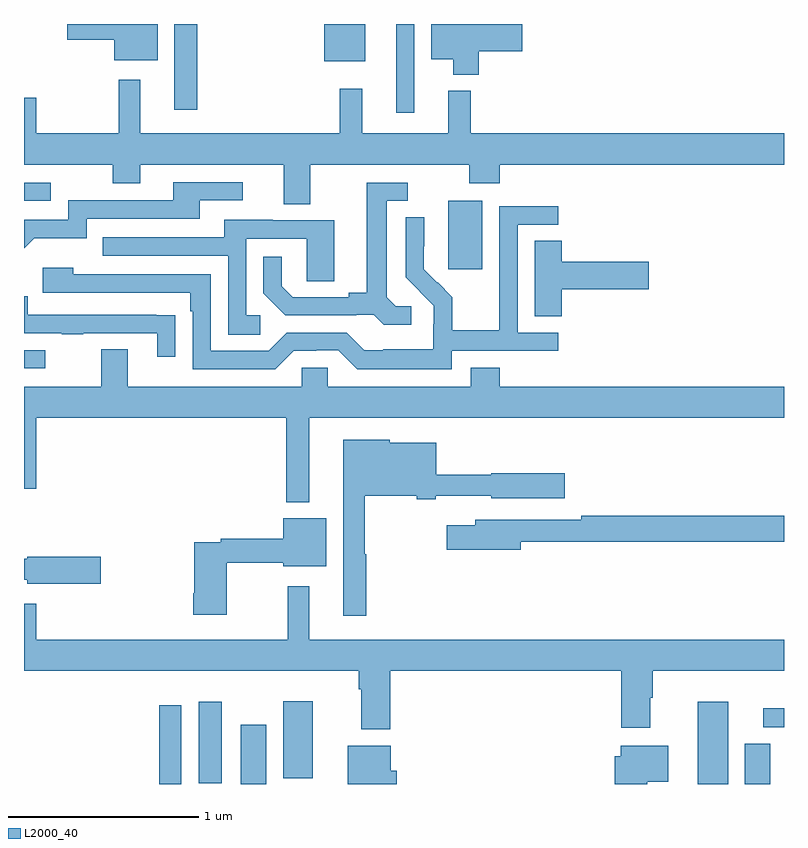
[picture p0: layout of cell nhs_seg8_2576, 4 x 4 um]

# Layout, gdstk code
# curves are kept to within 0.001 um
import gdstk
lib = gdstk.Library(unit=1e-6, precision=1e-09)
def R(c, l, rs):  # rectangles x0, y0, x1, y1
    for r in rs: c.add(gdstk.rectangle(r[:2], r[2:], *l))
def P(c, l, *ps):  # polygons
    for p in ps: c.add(gdstk.Polygon(p, *l))
L2000_40 = (2000, 40)

nhs_seg8_2576 = lib.new_cell('nhs_seg8_2576')
R(nhs_seg8_2576, L2000_40, [(273.712,1119.9,273.828,1120.315), (274.142,1119.9,274.276,1120.213), (276.545,1119.9,276.706,1120.333), (276.794,1119.9,276.928,1120.111), (273.92,1119.903,274.042,1120.333), (274.364,1119.93,274.519,1120.336), (276.891,1120.2,277,1120.298), (273,1122.087,273.112,1122.183), (275.234,1122.609,275.413,1122.97), (273,1122.969,273.142,1123.065), (274.958,1123.434,275.055,1123.9), (273.791,1123.449,273.913,1123.9), (274.58,1123.703,274.795,1123.9)])
P(nhs_seg8_2576, L2000_40, [(273.703,1123.9),(273.228,1123.9),(273.228,1123.816),(273.476,1123.816),(273.476,1123.709),(273.703,1123.709)],
  [(275.393,1123.756),(275.623,1123.756),(275.623,1123.898),(275.376,1123.898),(275.376,1123.9),(275.144,1123.9),(275.144,1123.715),(275.258,1123.715),(275.258,1123.634),(275.393,1123.634)],
  [(274.507,1123.16),(275.344,1123.16),(275.344,1123.061),(275.504,1123.061),(275.504,1123.16),(277,1123.16),(277,1123.324),(275.351,1123.324),(275.351,1123.549),(275.234,1123.549),(275.234,1123.324),(274.781,1123.324),(274.781,1123.558),(274.663,1123.558),(274.663,1123.324),(273.613,1123.324),(273.613,1123.606),(273.499,1123.606),(273.499,1123.324),(273.064,1123.324),(273.064,1123.513),(273,1123.513),(273,1123.16),(273.466,1123.16),(273.466,1123.061),(273.613,1123.061),(273.613,1123.16),(274.367,1123.16),(274.367,1122.952),(274.507,1122.952)],
  [(273.053,1122.773),(273.33,1122.773),(273.33,1122.876),(273.925,1122.876),(273.925,1122.972),(274.15,1122.972),(274.15,1123.068),(273.785,1123.068),(273.785,1122.972),(273.234,1122.972),(273.234,1122.87),(273,1122.87),(273,1122.72)],
  [(275.038,1122.414),(274.956,1122.414),(274.909,1122.461),(274.909,1122.969),(275.02,1122.969),(275.02,1123.065),(274.805,1123.065),(274.805,1122.485),(274.709,1122.485),(274.709,1122.462),(274.414,1122.462),(274.357,1122.519),(274.357,1122.676),(274.26,1122.676),(274.26,1122.482),(274.376,1122.366),(274.748,1122.366),(274.748,1122.369),(274.842,1122.369),(274.894,1122.317),(275.038,1122.317)],
  [(275.25,1122.18),(275.812,1122.18),(275.812,1122.276),(275.598,1122.276),(275.598,1122.843),(275.812,1122.843),(275.812,1122.942),(275.502,1122.942),(275.502,1122.512),(275.5,1122.512),(275.5,1122.289),(275.255,1122.289),(275.255,1122.463),(275.178,1122.54),(275.175,1122.537),(275.105,1122.608),(275.106,1122.884),(275.01,1122.884),(275.01,1122.566),(275.156,1122.418),(275.156,1122.321),(275.154,1122.321),(275.154,1122.187),(274.891,1122.187),(274.891,1122.183),(274.791,1122.183),(274.698,1122.276),(274.383,1122.276),(274.287,1122.18),(273.984,1122.18),(273.984,1122.582),(273.26,1122.582),(273.26,1122.616),(273.099,1122.616),(273.099,1122.486),(273.875,1122.486),(273.875,1122.389),(273.888,1122.389),(273.888,1122.084),(274.323,1122.084),(274.419,1122.18),(274.538,1122.18),(274.538,1122.183),(274.653,1122.183),(274.753,1122.083),(275.25,1122.083)],
  [(274.243,1122.366),(274.17,1122.366),(274.17,1122.771),(274.488,1122.771),(274.488,1122.547),(274.633,1122.547),(274.633,1122.867),(274.309,1122.867),(274.309,1122.871),(274.055,1122.871),(274.055,1122.777),(273.415,1122.777),(273.415,1122.681),(274.074,1122.681),(274.074,1122.265),(274.243,1122.265)],
  [(275.831,1122.503),(276.289,1122.503),(276.289,1122.65),(275.831,1122.65),(275.831,1122.758),(275.687,1122.758),(275.687,1122.361),(275.831,1122.361)],
  [(273.797,1122.368),(273.695,1122.368),(273.695,1122.369),(273.02,1122.369),(273.02,1122.466),(273,1122.466),(273,1122.273),(273.199,1122.273),(273.199,1122.268),(273.311,1122.268),(273.311,1122.273),(273.701,1122.273),(273.701,1122.15),(273.797,1122.15)],
  [(274.501,1121.828),(277,1121.828),(277,1121.992),(275.504,1121.992),(275.504,1122.091),(275.351,1122.091),(275.351,1121.992),(274.599,1121.992),(274.599,1122.09),(274.461,1122.09),(274.461,1121.992),(273.547,1121.992),(273.547,1122.187),(273.407,1122.187),(273.407,1121.992),(273,1121.992),(273,1121.454),(273.064,1121.454),(273.064,1121.828),(274.38,1121.828),(274.38,1121.384),(274.501,1121.384)],
  [(274.801,1121.109),(274.793,1121.109),(274.793,1121.417),(275.066,1121.417),(275.066,1121.398),(275.166,1121.398),(275.166,1121.418),(275.46,1121.418),(275.46,1121.405),(275.845,1121.405),(275.845,1121.535),(275.46,1121.535),(275.46,1121.527),(275.17,1121.527),(275.17,1121.695),(274.926,1121.695),(274.926,1121.713),(274.679,1121.713),(274.679,1120.785),(274.801,1120.785)],
  [(275.614,1121.176),(277,1121.176),(277,1121.312),(275.932,1121.312),(275.932,1121.292),(275.375,1121.292),(275.375,1121.263),(275.226,1121.263),(275.226,1121.134),(275.614,1121.134)],
  [(274.068,1121.064),(274.364,1121.064),(274.364,1121.045),(274.591,1121.045),(274.591,1121.299),(274.364,1121.299),(274.364,1121.192),(274.036,1121.192),(274.036,1121.172),(273.895,1121.172),(273.895,1120.903),(273.89,1120.903),(273.89,1120.791),(274.068,1120.791)],
  [(273.403,1121.096),(273.018,1121.096),(273.018,1121.086),(273,1121.086),(273,1120.974),(273.018,1120.974),(273.018,1120.954),(273.403,1120.954)],
  [(274.928,1120.496),(276.143,1120.496),(276.143,1120.197),(276.295,1120.197),(276.295,1120.355),(276.308,1120.355),(276.308,1120.496),(277,1120.496),(277,1120.66),(274.501,1120.66),(274.501,1120.942),(274.387,1120.942),(274.387,1120.66),(273.064,1120.66),(273.064,1120.849),(273,1120.849),(273,1120.496),(274.763,1120.496),(274.763,1120.4),(274.775,1120.4),(274.775,1120.187),(274.928,1120.187)],
  [(274.961,1119.969),(274.93,1119.969),(274.93,1120.102),(274.703,1120.102),(274.703,1119.9),(274.961,1119.9)],
  [(276.28,1119.911),(276.391,1119.911),(276.391,1120.102),(276.14,1120.102),(276.14,1120.047),(276.11,1120.047),(276.11,1119.9),(276.28,1119.9)])

lib.write_gds('nhs_seg8_2576.gds')
